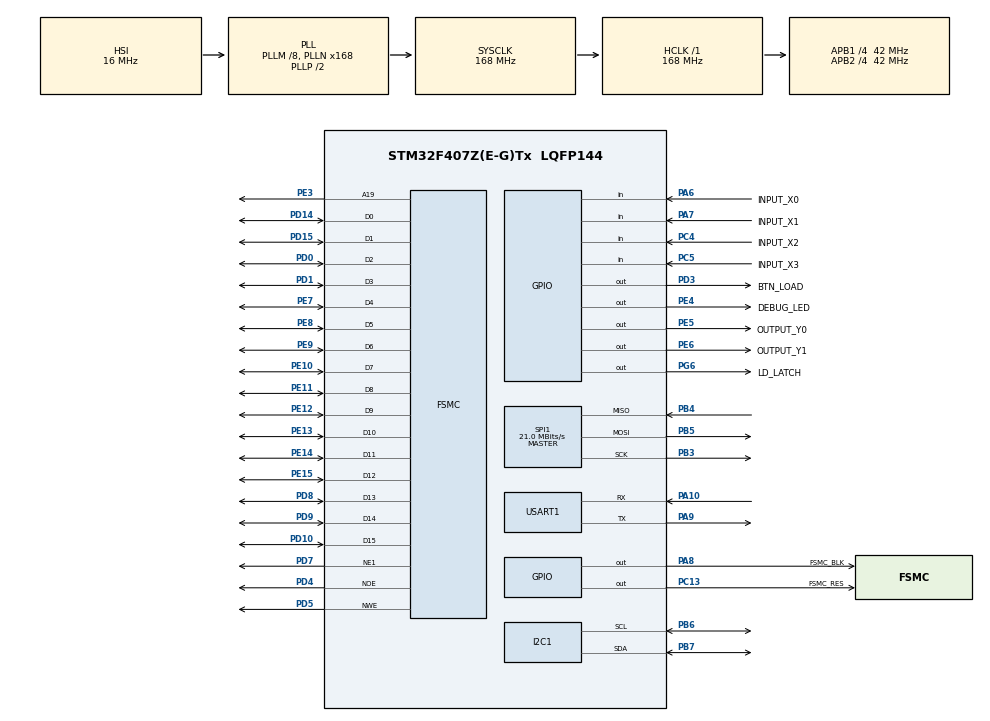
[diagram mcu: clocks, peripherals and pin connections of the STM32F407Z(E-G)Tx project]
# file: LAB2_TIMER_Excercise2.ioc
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FSMC.AddressSetupTime1=0xf
FSMC.BusTurnAroundDuration1=0
FSMC.DataSetupTime1=60
FSMC.ExtendedAddressSetupTime1=8
FSMC.ExtendedBusTurnAroundDuration1=0
FSMC.ExtendedDataSetupTime1=9
FSMC.ExtendedMode1=FSMC_EXTENDED_MODE_ENABLE
I2C1.I2C_Mode=I2C_Standard
Mcu.Family=STM32F4
Mcu.Name=STM32F407Z(E-G)Tx
Mcu.Package=LQFP144
NVIC.PriorityGroup=NVIC_PRIORITYGROUP_4
NVIC.TIM2_IRQn=true\:0\:0\:false\:false\:true\:true\:true
NVIC.USART1_IRQn=true\:0\:0\:false\:false\:true\:true\:true
PA10.Mode=Asynchronous
PA10.Signal=USART1_RX
PA13.Mode=Serial_Wire
PA13.Signal=SYS_JTMS-SWDIO
PA14.Mode=Serial_Wire
PA14.Signal=SYS_JTCK-SWCLK
PA6.GPIO_Label=INPUT_X0
PA6.Signal=GPIO_Input
PA7.GPIO_Label=INPUT_X1
PA7.Signal=GPIO_Input
PA8.GPIO_Label=FSMC_BLK
PA8.Signal=GPIO_Output
PA9.Mode=Asynchronous
PA9.Signal=USART1_TX
PB3.Mode=Full_Duplex_Master
PB3.Signal=SPI1_SCK
PB4.Mode=Full_Duplex_Master
PB4.Signal=SPI1_MISO
PB5.Mode=Full_Duplex_Master
PB5.Signal=SPI1_MOSI
PB6.Mode=I2C
PB6.Signal=I2C1_SCL
PB7.Mode=I2C
PB7.Signal=I2C1_SDA
PC13-ANTI_TAMP.GPIO_Label=FSMC_RES
PC13-ANTI_TAMP.Signal=GPIO_Output
PC4.GPIO_Label=INPUT_X2
PC4.Signal=GPIO_Input
PC5.GPIO_Label=INPUT_X3
PC5.Signal=GPIO_Input
PD0.Signal=FSMC_D2_DA2
PD1.Signal=FSMC_D3_DA3
PD10.Signal=FSMC_D15_DA15
PD14.Signal=FSMC_D0_DA0
PD15.Signal=FSMC_D1_DA1
PD3.GPIO_Label=BTN_LOAD
PD3.Signal=GPIO_Output
PD4.Signal=FSMC_NOE
PD5.Signal=FSMC_NWE
PD7.Mode=NorPsramChipSelect1_1
PD7.Signal=FSMC_NE1
PD8.Signal=FSMC_D13_DA13
PD9.Signal=FSMC_D14_DA14
PE10.Signal=FSMC_D7_DA7
PE11.Signal=FSMC_D8_DA8
PE12.Signal=FSMC_D9_DA9
PE13.Signal=FSMC_D10_DA10
PE14.Signal=FSMC_D11_DA11
PE15.Signal=FSMC_D12_DA12
PE3.Signal=FSMC_A19
PE4.GPIO_Label=DEBUG_LED
PE4.Signal=GPIO_Output
PE5.GPIO_Label=OUTPUT_Y0
PE5.Signal=GPIO_Output
PE6.GPIO_Label=OUTPUT_Y1
PE6.Signal=GPIO_Output
PE7.Signal=FSMC_D4_DA4
PE8.Signal=FSMC_D5_DA5
PE9.Signal=FSMC_D6_DA6
PG6.GPIO_Label=LD_LATCH
PG6.Signal=GPIO_Output
PH0-OSC_IN.Mode=HSE-External-Oscillator
PH0-OSC_IN.Signal=RCC_OSC_IN
PH1-OSC_OUT.Mode=HSE-External-Oscillator
PH1-OSC_OUT.Signal=RCC_OSC_OUT
ProjectManager.HeapSize=0x200
ProjectManager.StackSize=0x400
ProjectManager.TargetToolchain=STM32CubeIDE
RCC.48MHZClocksFreq_Value=84000000
RCC.AHBFreq_Value=168000000
RCC.APB1CLKDivider=RCC_HCLK_DIV4
RCC.APB1Freq_Value=42000000
RCC.APB1TimFreq_Value=84000000
RCC.APB2CLKDivider=RCC_HCLK_DIV4
RCC.APB2Freq_Value=42000000
RCC.APB2TimFreq_Value=84000000
RCC.CortexFreq_Value=168000000
RCC.HCLKFreq_Value=168000000
RCC.HSE_VALUE=8000000
RCC.HSI_VALUE=16000000
RCC.LSE_VALUE=32768
RCC.PLLM=8
RCC.PLLN=168
RCC.SYSCLKFreq_VALUE=168000000
RCC.SYSCLKSource=RCC_SYSCLKSOURCE_PLLCLK
RCC.VCOOutputFreq_Value=336000000
SH.FSMC_A19.0=FSMC_A19,A19_1
SH.FSMC_D0_DA0.0=FSMC_D0,16b-d1
SH.FSMC_D10_DA10.0=FSMC_D10,16b-d1
SH.FSMC_D11_DA11.0=FSMC_D11,16b-d1
SH.FSMC_D12_DA12.0=FSMC_D12,16b-d1
SH.FSMC_D13_DA13.0=FSMC_D13,16b-d1
SH.FSMC_D14_DA14.0=FSMC_D14,16b-d1
SH.FSMC_D15_DA15.0=FSMC_D15,16b-d1
SH.FSMC_D1_DA1.0=FSMC_D1,16b-d1
SH.FSMC_D2_DA2.0=FSMC_D2,16b-d1
SH.FSMC_D3_DA3.0=FSMC_D3,16b-d1
SH.FSMC_D4_DA4.0=FSMC_D4,16b-d1
SH.FSMC_D5_DA5.0=FSMC_D5,16b-d1
SH.FSMC_D6_DA6.0=FSMC_D6,16b-d1
SH.FSMC_D7_DA7.0=FSMC_D7,16b-d1
SH.FSMC_D8_DA8.0=FSMC_D8,16b-d1
SH.FSMC_D9_DA9.0=FSMC_D9,16b-d1
SH.FSMC_NOE.0=FSMC_NOE,Lcd1
SH.FSMC_NWE.0=FSMC_NWE,Lcd1
SPI1.BaudRatePrescaler=SPI_BAUDRATEPRESCALER_2
SPI1.CalculateBaudRate=21.0 MBits/s
SPI1.Direction=SPI_DIRECTION_2LINES
SPI1.Mode=SPI_MODE_MASTER
SPI1.VirtualType=VM_MASTER
TIM2.Period=100-1
TIM2.Prescaler=840-1
USART1.VirtualMode=VM_ASYNC
VP_TIM2_VS_ClockSourceINT.Mode=Internal
board=custom

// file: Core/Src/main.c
/* USER CODE BEGIN Header */
/**
  ******************************************************************************
  * @file           : main.c
  * @brief          : Main program body
  ******************************************************************************
  * @attention
  *
  * <h2><center>&copy; Copyright (c) 2024 STMicroelectronics.
  * All rights reserved.</center></h2>
  *
  * This software component is licensed by ST under BSD 3-Clause license,
  * the "License"; You may not use this file except in compliance with the
  * License. You may obtain a copy of the License at:
  *                        opensource.org/licenses/BSD-3-Clause
  *
  ******************************************************************************
  */
/* USER CODE END Header */
#include "main.h"
#include "i2c.h"
#include "spi.h"
#include "tim.h"
#include "usart.h"
#include "gpio.h"
#include "fsmc.h"

/* USER CODE BEGIN Includes */
#include "software_timer.h"
#include "led_7seg.h"
/* USER CODE END Includes */

void SystemClock_Config(void);
/* USER CODE BEGIN PFP */
void system_init();
void traffic();
/* USER CODE END PFP */

int main(void)
{

  /* MCU Configuration--------------------------------------------------------*/

  /* Reset of all peripherals, Initializes the Flash interface and the Systick. */
  HAL_Init();

  /* Configure the system clock */
  SystemClock_Config();

  /* Initialize all configured peripherals */
  MX_GPIO_Init();
  MX_TIM2_Init();
  MX_SPI1_Init();
  MX_FSMC_Init();
  MX_I2C1_Init();
  MX_USART1_UART_Init();
  /* USER CODE BEGIN 2 */
  system_init();
  led7_SetColon(1);
  /* USER CODE END 2 */

  /* Infinite loop */
  /* USER CODE BEGIN WHILE */
  while (1)
  {
	  while(!flag_timer2);
	  flag_timer2 = 0;
	  //Tasks
	  traffic();
    /* USER CODE END WHILE */

  }
}

void SystemClock_Config(void)
{
  RCC_OscInitTypeDef RCC_OscInitStruct = {0};
  RCC_ClkInitTypeDef RCC_ClkInitStruct = {0};

  /** Configure the main internal regulator output voltage
  */
  __HAL_RCC_PWR_CLK_ENABLE();
  __HAL_PWR_VOLTAGESCALING_CONFIG(PWR_REGULATOR_VOLTAGE_SCALE1);
  /** Initializes the RCC Oscillators according to the specified parameters
  * in the RCC_OscInitTypeDef structure.
  */
  RCC_OscInitStruct.OscillatorType = RCC_OSCILLATORTYPE_HSI;
  RCC_OscInitStruct.HSIState = RCC_HSI_ON;
  RCC_OscInitStruct.HSICalibrationValue = RCC_HSICALIBRATION_DEFAULT;
  RCC_OscInitStruct.PLL.PLLState = RCC_PLL_ON;
  RCC_OscInitStruct.PLL.PLLSource = RCC_PLLSOURCE_HSI;
  RCC_OscInitStruct.PLL.PLLM = 8;
  RCC_OscInitStruct.PLL.PLLN = 168;
  RCC_OscInitStruct.PLL.PLLP = RCC_PLLP_DIV2;
  RCC_OscInitStruct.PLL.PLLQ = 4;
  if (HAL_RCC_OscConfig(&RCC_OscInitStruct) != HAL_OK)
  {
    Error_Handler();
  }
  /** Initializes the CPU, AHB and APB buses clocks
  */
  RCC_ClkInitStruct.ClockType = RCC_CLOCKTYPE_HCLK|RCC_CLOCKTYPE_SYSCLK
                              |RCC_CLOCKTYPE_PCLK1|RCC_CLOCKTYPE_PCLK2;
  RCC_ClkInitStruct.SYSCLKSource = RCC_SYSCLKSOURCE_PLLCLK;
  RCC_ClkInitStruct.AHBCLKDivider = RCC_SYSCLK_DIV1;
  RCC_ClkInitStruct.APB1CLKDivider = RCC_HCLK_DIV4;
  RCC_ClkInitStruct.APB2CLKDivider = RCC_HCLK_DIV4;

  if (HAL_RCC_ClockConfig(&RCC_ClkInitStruct, FLASH_LATENCY_5) != HAL_OK)
  {
    Error_Handler();
  }
}

/* USER CODE BEGIN 4 */
void system_init(){
	  HAL_GPIO_WritePin(OUTPUT_Y0_GPIO_Port, OUTPUT_Y0_Pin, 0);
	  HAL_GPIO_WritePin(OUTPUT_Y1_GPIO_Port, OUTPUT_Y1_Pin, 0);
	  HAL_GPIO_WritePin(DEBUG_LED_GPIO_Port, DEBUG_LED_Pin, 0);
	  timer_init();
	  led7_init();

	  setTimer2(50);
}

uint8_t count_traffic = 0;

void traffic() {
    count_traffic = (count_traffic + 1) % 180; // Cycle through a full period

    if (count_traffic < 100) {
        // RED on, GREEN and YELLOW off
        HAL_GPIO_WritePin(DEBUG_LED_GPIO_Port, DEBUG_LED_Pin, 1);  // RED
        HAL_GPIO_WritePin(OUTPUT_Y0_GPIO_Port, OUTPUT_Y0_Pin, 0);  // GREEN
        HAL_GPIO_WritePin(OUTPUT_Y1_GPIO_Port, OUTPUT_Y1_Pin, 0);  // YELLOW
    }
    else if (count_traffic < 160) {
        // GREEN on, RED and YELLOW off
        HAL_GPIO_WritePin(DEBUG_LED_GPIO_Port, DEBUG_LED_Pin, 0);  // RED
        HAL_GPIO_WritePin(OUTPUT_Y0_GPIO_Port, OUTPUT_Y0_Pin, 1);  // GREEN
        HAL_GPIO_WritePin(OUTPUT_Y1_GPIO_Port, OUTPUT_Y1_Pin, 0);  // YELLOW
    }
    else {
        // YELLOW on, RED and GREEN off
        HAL_GPIO_WritePin(DEBUG_LED_GPIO_Port, DEBUG_LED_Pin, 0);  // RED
        HAL_GPIO_WritePin(OUTPUT_Y0_GPIO_Port, OUTPUT_Y0_Pin, 0);  // GREEN
        HAL_GPIO_WritePin(OUTPUT_Y1_GPIO_Port, OUTPUT_Y1_Pin, 1);  // YELLOW
    }
}
/* USER CODE END 4 */

void Error_Handler(void)
{
  __disable_irq();
  while (1)
  {
  }
}

/************************ (C) COPYRIGHT STMicroelectronics *****END OF FILE****/
